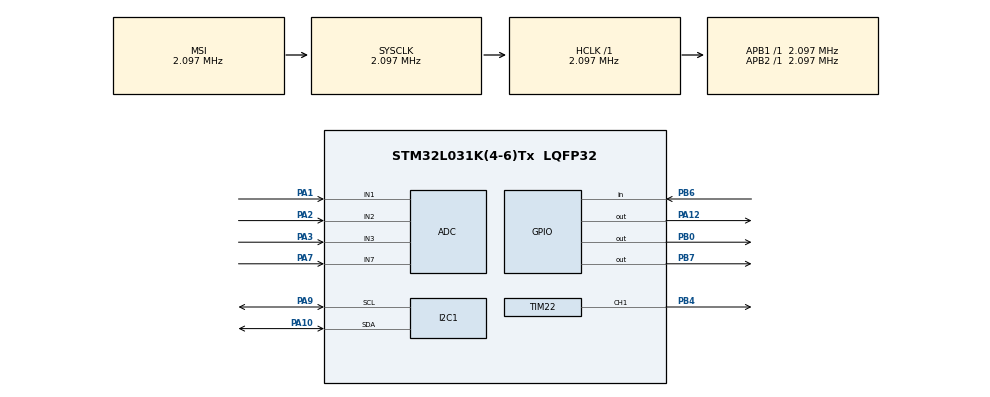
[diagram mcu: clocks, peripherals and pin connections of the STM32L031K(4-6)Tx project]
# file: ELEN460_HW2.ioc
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ADC.ExternalTrigConv=ADC_SOFTWARE_START
ADC.SamplingTime=ADC_SAMPLETIME_3CYCLES_5
Dma.ADC.0.Direction=DMA_PERIPH_TO_MEMORY
Dma.ADC.0.Instance=DMA1_Channel1
Dma.ADC.0.MemDataAlignment=DMA_MDATAALIGN_HALFWORD
Dma.ADC.0.MemInc=DMA_MINC_ENABLE
Dma.ADC.0.Mode=DMA_CIRCULAR
Dma.ADC.0.PeriphDataAlignment=DMA_PDATAALIGN_HALFWORD
Dma.ADC.0.PeriphInc=DMA_PINC_DISABLE
Dma.ADC.0.Priority=DMA_PRIORITY_LOW
Dma.Request0=ADC
Mcu.Family=STM32L0
Mcu.Name=STM32L031K(4-6)Tx
Mcu.Package=LQFP32
NVIC.ADC1_COMP_IRQn=true\:0\:0\:false\:false\:true\:true\:true
NVIC.DMA1_Channel1_IRQn=true\:0\:0\:false\:false\:true\:false\:true
PA1.Mode=IN1
PA1.Signal=ADC_IN1
PA10.Mode=I2C
PA10.Signal=I2C1_SDA
PA12.GPIO_PuPd=GPIO_PULLDOWN
PA12.Signal=GPIO_Output
PA2.Mode=IN2
PA2.Signal=ADC_IN2
PA3.Mode=IN3
PA3.Signal=ADC_IN3
PA7.Mode=IN7
PA7.Signal=ADC_IN7
PA9.Mode=I2C
PA9.Signal=I2C1_SCL
PB0.GPIO_PuPd=GPIO_PULLDOWN
PB0.Signal=GPIO_Output
PB4.Signal=S_TIM22_CH1
PB6.GPIO_PuPd=GPIO_PULLDOWN
PB6.Signal=GPIO_Input
PB7.GPIO_PuPd=GPIO_PULLDOWN
PB7.Signal=GPIO_Output
ProjectManager.HeapSize=0x200
ProjectManager.StackSize=0x400
ProjectManager.TargetToolchain=EWARM V8.32
RCC.AHBFreq_Value=2097000
RCC.APB1Freq_Value=2097000
RCC.APB1TimFreq_Value=2097000
RCC.APB2Freq_Value=2097000
RCC.APB2TimFreq_Value=2097000
RCC.HSE_VALUE=8000000
RCC.HSI16_VALUE=16000000
RCC.HSI_VALUE=16000000
RCC.LSE_VALUE=32768
RCC.MSI_VALUE=2097000
RCC.SYSCLKFreq_VALUE=2097000
RCC.VCOOutputFreq_Value=48000000
SH.S_TIM22_CH1.0=TIM22_CH1,PWM Generation1 CH1
TIM22.Channel-PWM\ Generation1\ CH1=TIM_CHANNEL_1
board=custom

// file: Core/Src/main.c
/* USER CODE BEGIN Header */
/**
  ******************************************************************************
  * @file           : main.c
  * @brief          : Main program body
  ******************************************************************************
  * @attention
  *
  * <h2><center>&copy; Copyright (c) 2022 STMicroelectronics.
  * All rights reserved.</center></h2>
  *
  * This software component is licensed by ST under BSD 3-Clause license,
  * the "License"; You may not use this file except in compliance with the
  * License. You may obtain a copy of the License at:
  *                        opensource.org/licenses/BSD-3-Clause
  *
  ******************************************************************************
  */
/* USER CODE END Header */
#include "main.h"

/* USER CODE BEGIN Includes */
#include "fonts.h"
#include "ssd1306.h"
#include "ux_manager.h"
/* USER CODE END Includes */

/* USER CODE BEGIN PD */
#define ADC_BUFFER_SIZE         100
#define ADC_INDEX_TEMP          2
#define ADC_INDEX_LOW           0
#define ADC_INDEX_MID           3
#define ADC_INDEX_HIGH          1
#define LOGIC_T1_BUFF_SIZE      50
#define LOGIC_T2_BUFF_SIZE      50
#define LOGIC_T3_BUFF_SIZE      50
#define LOGIC_T1_PIN            GPIOA, GPIO_PIN_12
#define LOGIC_T2_PIN            GPIOB, GPIO_PIN_0
#define LOGIC_T3_PIN            GPIOB, GPIO_PIN_7
#define LOGIC_HEATER_PIN        GPIOB, GPIO_PIN_6
#define CLOCK_PULSE             32500
/* USER CODE END PD */

ADC_HandleTypeDef hadc;
DMA_HandleTypeDef hdma_adc;

I2C_HandleTypeDef hi2c1;

TIM_HandleTypeDef htim22;

/* USER CODE BEGIN PV */
// Scheduler Variables
extern uint8_t ten_mS_Flag;
extern uint8_t twentyfive_mS_Flag;
extern uint8_t hundred_mS_Flag;
extern uint8_t one_S_Flag;
extern uint8_t five_hundred_mS_Flag;

// ADC Variables
const uint8_t gain = 2;
uint16_t adcValue[4];
uint16_t adcBuffer[ADC_BUFFER_SIZE];
uint16_t adcAvg;
float tempInC;
float tempF;
float voltageInmV;

// Controller
uint8_t t1;
uint8_t t2;
uint8_t t3;
uint8_t heaterState;
uint16_t t1Buffer[LOGIC_T1_BUFF_SIZE];
uint16_t t2Buffer[LOGIC_T2_BUFF_SIZE];
uint16_t t3Buffer[LOGIC_T3_BUFF_SIZE];
uint16_t t1Avg;
uint16_t t2Avg;
uint16_t t3Avg;
float tempThreshLowF;
float tempThreshMidF;
float tempThreshHighF;

// Display Varaibles
DWfloat temperature = {"%4.1f ", "----", 0, 0, true, 25.0};
DWfloat tempThreshLow = {"%4.1f ", "----", 0, 0, true, 25.0};
DWfloat tempThreshMid = {"%4.1f ", "----", 0, 0, true, 25.0};
DWfloat tempThreshHigh = {"%4.1f ", "----", 0, 0, true, 25.0};
DWstring units = {"%s", "----", 0, 0, true, "DegC"};
uint8_t unitChoices[2][5] = {"DegF", "DegC"};

/* USER CODE END PV */

void SystemClock_Config(void);
static void MX_GPIO_Init(void);
static void MX_DMA_Init(void);
static void MX_ADC_Init(void);
static void MX_I2C1_Init(void);
static void MX_TIM22_Init(void);
/* USER CODE BEGIN PFP */
void Update_TempC(void);
void Update_ADCBuff(uint16_t value);
float Calc_Temp_Thresh(uint16_t adcCounts);
void SetClockPeriod(uint16_t period);
void Update_T1_Buff(uint16_t value);
void Update_T2_Buff(uint16_t value);
void Update_T3_Buff(uint16_t value);
void Update_T1_Avg(void);
void Update_T2_Avg(void);
void Update_T3_Avg(void);
/* USER CODE END PFP */

int main(void)
{

  /* MCU Configuration--------------------------------------------------------*/

  /* Reset of all peripherals, Initializes the Flash interface and the Systick. */
  HAL_Init();

  /* Configure the system clock */
  SystemClock_Config();

  /* Initialize all configured peripherals */
  MX_GPIO_Init();
  MX_DMA_Init();
  MX_ADC_Init();
  MX_I2C1_Init();
  MX_TIM22_Init();
  /* USER CODE BEGIN 2 */

  SSD1306_Init();  // initialise

  adcBuffer[0] = 0;
  adcBuffer[1] = 0;
  adcBuffer[2] = 0;

  // Splash Screen
  SSD1306_Clear();
  SSD1306_GotoXY (0,0);
  SSD1306_Puts ("Welcome to", &Font_11x18, SSD1306_COLOR_WHITE);
  SSD1306_GotoXY (0,20);
  SSD1306_Puts ("The Thermal", &Font_11x18, SSD1306_COLOR_WHITE);
  SSD1306_GotoXY (0,40);
  SSD1306_Puts ("Chamber!", &Font_11x18, SSD1306_COLOR_WHITE);
  SSD1306_UpdateScreen();

  HAL_Delay (3000);

  SwitchScreens(HOME);

  // Start clock PWM Timer
  HAL_TIM_PWM_Start_IT(&htim22, TIM_CHANNEL_1);
  SetClockPeriod(CLOCK_PULSE);
  /* USER CODE END 2 */

  /* Infinite loop */
  /* USER CODE BEGIN WHILE */
  while (1)
  {

    // 10 ms scheduler
    if(ten_mS_Flag) {
      ten_mS_Flag = false;

      // Read ADC and update buffer
      HAL_ADC_Start_DMA(&hadc, (uint32_t *) adcValue, 4);
      Update_ADCBuff(adcValue[ADC_INDEX_TEMP]);

      // Upadte Threshold buffers
      Update_T1_Buff(adcValue[ADC_INDEX_LOW]);
      Update_T2_Buff(adcValue[ADC_INDEX_MID]);
      Update_T3_Buff(adcValue[ADC_INDEX_HIGH]);
    }

    // 25 ms scheduler
    if(twentyfive_mS_Flag) {
      twentyfive_mS_Flag = false;

      // Check thresholds
      t1 = (tempF > tempThreshLowF);
      t2 = (tempF > tempThreshMidF);
      t3 = (tempF > tempThreshHighF);

      // Update T1 output
      if(t1){
        HAL_GPIO_WritePin(LOGIC_T1_PIN,GPIO_PIN_SET);
      }
      else {
        HAL_GPIO_WritePin(LOGIC_T1_PIN,GPIO_PIN_RESET);
      }

      // Update T2 output
      if(t2){
        HAL_GPIO_WritePin(LOGIC_T2_PIN,GPIO_PIN_SET);
      }
      else {
        HAL_GPIO_WritePin(LOGIC_T2_PIN,GPIO_PIN_RESET);
      }

      // Update T3 output
      if(t3){
        HAL_GPIO_WritePin(LOGIC_T3_PIN,GPIO_PIN_SET);
      }
      else {
        HAL_GPIO_WritePin(LOGIC_T3_PIN,GPIO_PIN_RESET);
      }

    }

    // 100 ms scheduler

    if(hundred_mS_Flag) {
      hundred_mS_Flag = false;

      // Update Temp value in C
      Update_TempC();
    }

    // 500 ms scheduler
    if(five_hundred_mS_Flag){
      five_hundred_mS_Flag = false;

      // convert temp to F
      tempF = tempInC*(9.0/5.0) + 32.0;
      temperature.data = tempF;
      // Change units to F
      units.data[3] = 'F';

      // Update threshold values
      Update_T1_Avg();
      Update_T2_Avg();
      Update_T3_Avg();
      tempThreshLowF = Calc_Temp_Thresh(t1Avg);
      tempThreshLow.data = tempThreshLowF;
      tempThreshMidF = Calc_Temp_Thresh(t2Avg);
      tempThreshMid.data = tempThreshMidF;
      tempThreshHighF = Calc_Temp_Thresh(t3Avg);
      tempThreshHigh.data = tempThreshHighF;

      // Update display;
      UpdateScreenValues();
    }

    // 1 second scheduler
    if(one_S_Flag) {
      one_S_Flag = false;

    }

    // Everytime through the loop
    heaterState = HAL_GPIO_ReadPin(LOGIC_HEATER_PIN);
    /* USER CODE END WHILE */

  }
}

void SystemClock_Config(void)
{
  RCC_OscInitTypeDef RCC_OscInitStruct = {0};
  RCC_ClkInitTypeDef RCC_ClkInitStruct = {0};
  RCC_PeriphCLKInitTypeDef PeriphClkInit = {0};

  /** Configure the main internal regulator output voltage
  */
  __HAL_PWR_VOLTAGESCALING_CONFIG(PWR_REGULATOR_VOLTAGE_SCALE1);
  /** Initializes the RCC Oscillators according to the specified parameters
  * in the RCC_OscInitTypeDef structure.
  */
  RCC_OscInitStruct.OscillatorType = RCC_OSCILLATORTYPE_MSI;
  RCC_OscInitStruct.MSIState = RCC_MSI_ON;
  RCC_OscInitStruct.MSICalibrationValue = 0;
  RCC_OscInitStruct.MSIClockRange = RCC_MSIRANGE_5;
  RCC_OscInitStruct.PLL.PLLState = RCC_PLL_NONE;
  if (HAL_RCC_OscConfig(&RCC_OscInitStruct) != HAL_OK)
  {
    Error_Handler();
  }
  /** Initializes the CPU, AHB and APB buses clocks
  */
  RCC_ClkInitStruct.ClockType = RCC_CLOCKTYPE_HCLK|RCC_CLOCKTYPE_SYSCLK
                              |RCC_CLOCKTYPE_PCLK1|RCC_CLOCKTYPE_PCLK2;
  RCC_ClkInitStruct.SYSCLKSource = RCC_SYSCLKSOURCE_MSI;
  RCC_ClkInitStruct.AHBCLKDivider = RCC_SYSCLK_DIV1;
  RCC_ClkInitStruct.APB1CLKDivider = RCC_HCLK_DIV1;
  RCC_ClkInitStruct.APB2CLKDivider = RCC_HCLK_DIV1;

  if (HAL_RCC_ClockConfig(&RCC_ClkInitStruct, FLASH_LATENCY_0) != HAL_OK)
  {
    Error_Handler();
  }
  PeriphClkInit.PeriphClockSelection = RCC_PERIPHCLK_I2C1;
  PeriphClkInit.I2c1ClockSelection = RCC_I2C1CLKSOURCE_PCLK1;
  if (HAL_RCCEx_PeriphCLKConfig(&PeriphClkInit) != HAL_OK)
  {
    Error_Handler();
  }
}

static void MX_ADC_Init(void)
{

  ADC_ChannelConfTypeDef sConfig = {0};

  /** Configure the global features of the ADC (Clock, Resolution, Data Alignment and number of conversion)
  */
  hadc.Instance = ADC1;
  hadc.Init.OversamplingMode = DISABLE;
  hadc.Init.ClockPrescaler = ADC_CLOCK_SYNC_PCLK_DIV1;
  hadc.Init.Resolution = ADC_RESOLUTION_12B;
  hadc.Init.SamplingTime = ADC_SAMPLETIME_3CYCLES_5;
  hadc.Init.ScanConvMode = ADC_SCAN_DIRECTION_FORWARD;
  hadc.Init.DataAlign = ADC_DATAALIGN_RIGHT;
  hadc.Init.ContinuousConvMode = DISABLE;
  hadc.Init.DiscontinuousConvMode = DISABLE;
  hadc.Init.ExternalTrigConvEdge = ADC_EXTERNALTRIGCONVEDGE_NONE;
  hadc.Init.ExternalTrigConv = ADC_SOFTWARE_START;
  hadc.Init.DMAContinuousRequests = DISABLE;
  hadc.Init.EOCSelection = ADC_EOC_SINGLE_CONV;
  hadc.Init.Overrun = ADC_OVR_DATA_PRESERVED;
  hadc.Init.LowPowerAutoWait = DISABLE;
  hadc.Init.LowPowerFrequencyMode = ENABLE;
  hadc.Init.LowPowerAutoPowerOff = DISABLE;
  if (HAL_ADC_Init(&hadc) != HAL_OK)
  {
    Error_Handler();
  }
  /** Configure for the selected ADC regular channel to be converted.
  */
  sConfig.Channel = ADC_CHANNEL_1;
  sConfig.Rank = ADC_RANK_CHANNEL_NUMBER;
  if (HAL_ADC_ConfigChannel(&hadc, &sConfig) != HAL_OK)
  {
    Error_Handler();
  }
  /** Configure for the selected ADC regular channel to be converted.
  */
  sConfig.Channel = ADC_CHANNEL_2;
  if (HAL_ADC_ConfigChannel(&hadc, &sConfig) != HAL_OK)
  {
    Error_Handler();
  }
  /** Configure for the selected ADC regular channel to be converted.
  */
  sConfig.Channel = ADC_CHANNEL_3;
  if (HAL_ADC_ConfigChannel(&hadc, &sConfig) != HAL_OK)
  {
    Error_Handler();
  }
  /** Configure for the selected ADC regular channel to be converted.
  */
  sConfig.Channel = ADC_CHANNEL_7;
  if (HAL_ADC_ConfigChannel(&hadc, &sConfig) != HAL_OK)
  {
    Error_Handler();
  }

}

static void MX_I2C1_Init(void)
{

  hi2c1.Instance = I2C1;
  hi2c1.Init.Timing = 0x00000708;
  hi2c1.Init.OwnAddress1 = 0;
  hi2c1.Init.AddressingMode = I2C_ADDRESSINGMODE_7BIT;
  hi2c1.Init.DualAddressMode = I2C_DUALADDRESS_DISABLE;
  hi2c1.Init.OwnAddress2 = 0;
  hi2c1.Init.OwnAddress2Masks = I2C_OA2_NOMASK;
  hi2c1.Init.GeneralCallMode = I2C_GENERALCALL_DISABLE;
  hi2c1.Init.NoStretchMode = I2C_NOSTRETCH_DISABLE;
  if (HAL_I2C_Init(&hi2c1) != HAL_OK)
  {
    Error_Handler();
  }
  /** Configure Analogue filter
  */
  if (HAL_I2CEx_ConfigAnalogFilter(&hi2c1, I2C_ANALOGFILTER_ENABLE) != HAL_OK)
  {
    Error_Handler();
  }
  /** Configure Digital filter
  */
  if (HAL_I2CEx_ConfigDigitalFilter(&hi2c1, 0) != HAL_OK)
  {
    Error_Handler();
  }

}

static void MX_TIM22_Init(void)
{

  TIM_MasterConfigTypeDef sMasterConfig = {0};
  TIM_OC_InitTypeDef sConfigOC = {0};

  htim22.Instance = TIM22;
  htim22.Init.Prescaler = 0;
  htim22.Init.CounterMode = TIM_COUNTERMODE_UP;
  htim22.Init.Period = 65535;
  htim22.Init.ClockDivision = TIM_CLOCKDIVISION_DIV1;
  htim22.Init.AutoReloadPreload = TIM_AUTORELOAD_PRELOAD_DISABLE;
  if (HAL_TIM_PWM_Init(&htim22) != HAL_OK)
  {
    Error_Handler();
  }
  sMasterConfig.MasterOutputTrigger = TIM_TRGO_RESET;
  sMasterConfig.MasterSlaveMode = TIM_MASTERSLAVEMODE_DISABLE;
  if (HAL_TIMEx_MasterConfigSynchronization(&htim22, &sMasterConfig) != HAL_OK)
  {
    Error_Handler();
  }
  sConfigOC.OCMode = TIM_OCMODE_PWM1;
  sConfigOC.Pulse = 0;
  sConfigOC.OCPolarity = TIM_OCPOLARITY_HIGH;
  sConfigOC.OCFastMode = TIM_OCFAST_DISABLE;
  if (HAL_TIM_PWM_ConfigChannel(&htim22, &sConfigOC, TIM_CHANNEL_1) != HAL_OK)
  {
    Error_Handler();
  }
  HAL_TIM_MspPostInit(&htim22);

}

static void MX_DMA_Init(void)
{

  /* DMA controller clock enable */
  __HAL_RCC_DMA1_CLK_ENABLE();

  /* DMA interrupt init */
  /* DMA1_Channel1_IRQn interrupt configuration */
  HAL_NVIC_SetPriority(DMA1_Channel1_IRQn, 0, 0);
  HAL_NVIC_EnableIRQ(DMA1_Channel1_IRQn);

}

static void MX_GPIO_Init(void)
{
  GPIO_InitTypeDef GPIO_InitStruct = {0};

  /* GPIO Ports Clock Enable */
  __HAL_RCC_GPIOA_CLK_ENABLE();
  __HAL_RCC_GPIOB_CLK_ENABLE();

  /*Configure GPIO pin Output Level */
  HAL_GPIO_WritePin(GPIOB, GPIO_PIN_0|GPIO_PIN_7, GPIO_PIN_RESET);

  /*Configure GPIO pin Output Level */
  HAL_GPIO_WritePin(GPIOA, GPIO_PIN_12, GPIO_PIN_RESET);

  /*Configure GPIO pins : PB0 PB7 */
  GPIO_InitStruct.Pin = GPIO_PIN_0|GPIO_PIN_7;
  GPIO_InitStruct.Mode = GPIO_MODE_OUTPUT_PP;
  GPIO_InitStruct.Pull = GPIO_PULLDOWN;
  GPIO_InitStruct.Speed = GPIO_SPEED_FREQ_LOW;
  HAL_GPIO_Init(GPIOB, &GPIO_InitStruct);

  /*Configure GPIO pin : PA12 */
  GPIO_InitStruct.Pin = GPIO_PIN_12;
  GPIO_InitStruct.Mode = GPIO_MODE_OUTPUT_PP;
  GPIO_InitStruct.Pull = GPIO_PULLDOWN;
  GPIO_InitStruct.Speed = GPIO_SPEED_FREQ_LOW;
  HAL_GPIO_Init(GPIOA, &GPIO_InitStruct);

  /*Configure GPIO pin : PB6 */
  GPIO_InitStruct.Pin = GPIO_PIN_6;
  GPIO_InitStruct.Mode = GPIO_MODE_INPUT;
  GPIO_InitStruct.Pull = GPIO_PULLDOWN;
  HAL_GPIO_Init(GPIOB, &GPIO_InitStruct);

}

/* USER CODE BEGIN 4 */
void Update_ADCBuff(uint16_t value){

  // Shift values of the buffer
  for(uint8_t i = 1; i < ADC_BUFFER_SIZE; i++) {
    adcBuffer[i-1] = adcBuffer[i];
  }

  // Place new value at end of ADC buffer;
  adcBuffer[ADC_BUFFER_SIZE-1] = value;
}

void Update_TempC(void) {
  uint32_t temp;
  for(uint8_t i = 0; i < ADC_BUFFER_SIZE; i++) {
    temp += adcBuffer[i];
  }
  adcAvg = temp / ADC_BUFFER_SIZE;

  voltageInmV = (adcAvg/4096.0)*3300.0;

  // Based on 0C-100C range
  tempInC = (voltageInmV-1567.0)/(-8.2);

}

float Calc_Temp_Thresh(uint16_t adcCounts) {

  return ((adcCounts/4096.0)*60.0)+60.0;
}

void SetClockPeriod(uint16_t period)
{
  TIM_OC_InitTypeDef sConfigOC = {0};

  sConfigOC.OCMode = TIM_OCMODE_PWM1;
  sConfigOC.Pulse = period;
  sConfigOC.OCPolarity = TIM_OCPOLARITY_HIGH;
  sConfigOC.OCFastMode = TIM_OCFAST_DISABLE;

  HAL_TIM_PWM_Stop(&htim22, TIM_CHANNEL_1);
  HAL_TIM_PWM_ConfigChannel(&htim22, &sConfigOC, TIM_CHANNEL_1);
  HAL_TIM_PWM_Start(&htim22, TIM_CHANNEL_1);
}

void Update_T1_Buff(uint16_t value){

  // Shift values of the buffer
  for(uint8_t i = 1; i < LOGIC_T1_BUFF_SIZE; i++) {
    t1Buffer[i-1] = t1Buffer[i];
  }

  // Place new value at end of buffer;
  t1Buffer[LOGIC_T1_BUFF_SIZE-1] = value;
}

void Update_T2_Buff(uint16_t value){

  // Shift values of the buffer
  for(uint8_t i = 1; i < LOGIC_T2_BUFF_SIZE; i++) {
    t2Buffer[i-1] = t2Buffer[i];
  }

  // Place new value at end of buffer;
  t2Buffer[LOGIC_T2_BUFF_SIZE-1] = value;
}

void Update_T3_Buff(uint16_t value){

  // Shift values of the buffer
  for(uint8_t i = 1; i < LOGIC_T3_BUFF_SIZE; i++) {
    t3Buffer[i-1] = t3Buffer[i];
  }

  // Place new value at end of buffer;
  t3Buffer[LOGIC_T3_BUFF_SIZE-1] = value;
}

void Update_T1_Avg(void) {
  uint32_t temp;
  for(uint8_t i = 0; i < LOGIC_T1_BUFF_SIZE; i++) {
    temp += t1Buffer[i];
  }
  t1Avg = temp / LOGIC_T1_BUFF_SIZE;
}

void Update_T2_Avg(void) {
  uint32_t temp;
  for(uint8_t i = 0; i < LOGIC_T2_BUFF_SIZE; i++) {
    temp += t2Buffer[i];
  }
  t2Avg = temp / LOGIC_T2_BUFF_SIZE;
}

void Update_T3_Avg(void) {
  uint32_t temp;
  for(uint8_t i = 0; i < LOGIC_T3_BUFF_SIZE; i++) {
    temp += t3Buffer[i];
  }
  t3Avg = temp / LOGIC_T3_BUFF_SIZE;
}
/* USER CODE END 4 */

void Error_Handler(void)
{
  __disable_irq();
  while (1)
  {
  }
}

/************************ (C) COPYRIGHT STMicroelectronics *****END OF FILE****/
